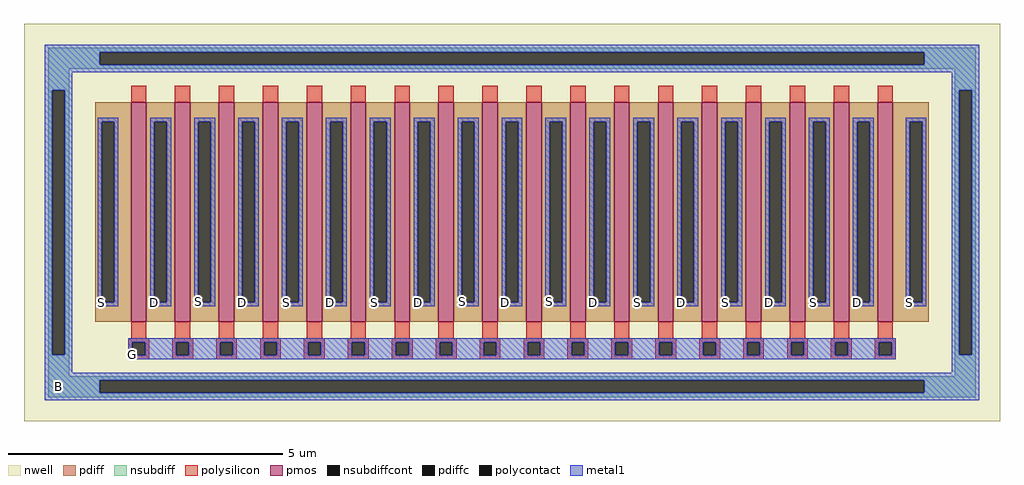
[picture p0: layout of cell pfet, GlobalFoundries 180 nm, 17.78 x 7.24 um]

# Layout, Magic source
magic
tech gf180mcuD
magscale 1 10
<< nwell >>
rect -352 -362 3204 1086
<< pmos >>
rect 38 0 94 800
rect 198 0 254 800
rect 358 0 414 800
rect 518 0 574 800
rect 678 0 734 800
rect 838 0 894 800
rect 998 0 1054 800
rect 1158 0 1214 800
rect 1318 0 1374 800
rect 1478 0 1534 800
rect 1638 0 1694 800
rect 1798 0 1854 800
rect 1958 0 2014 800
rect 2118 0 2174 800
rect 2278 0 2334 800
rect 2438 0 2494 800
rect 2598 0 2654 800
rect 2758 0 2814 800
<< pdiff >>
rect -92 729 38 800
rect -92 71 -69 729
rect -23 71 38 729
rect -92 0 38 71
rect 94 729 198 800
rect 94 71 123 729
rect 169 71 198 729
rect 94 0 198 71
rect 254 729 358 800
rect 254 71 283 729
rect 329 71 358 729
rect 254 0 358 71
rect 414 729 518 800
rect 414 71 443 729
rect 489 71 518 729
rect 414 0 518 71
rect 574 729 678 800
rect 574 71 603 729
rect 649 71 678 729
rect 574 0 678 71
rect 734 729 838 800
rect 734 71 763 729
rect 809 71 838 729
rect 734 0 838 71
rect 894 729 998 800
rect 894 71 923 729
rect 969 71 998 729
rect 894 0 998 71
rect 1054 729 1158 800
rect 1054 71 1083 729
rect 1129 71 1158 729
rect 1054 0 1158 71
rect 1214 729 1318 800
rect 1214 71 1243 729
rect 1289 71 1318 729
rect 1214 0 1318 71
rect 1374 729 1478 800
rect 1374 71 1403 729
rect 1449 71 1478 729
rect 1374 0 1478 71
rect 1534 729 1638 800
rect 1534 71 1563 729
rect 1609 71 1638 729
rect 1534 0 1638 71
rect 1694 729 1798 800
rect 1694 71 1723 729
rect 1769 71 1798 729
rect 1694 0 1798 71
rect 1854 729 1958 800
rect 1854 71 1883 729
rect 1929 71 1958 729
rect 1854 0 1958 71
rect 2014 729 2118 800
rect 2014 71 2043 729
rect 2089 71 2118 729
rect 2014 0 2118 71
rect 2174 729 2278 800
rect 2174 71 2203 729
rect 2249 71 2278 729
rect 2174 0 2278 71
rect 2334 729 2438 800
rect 2334 71 2363 729
rect 2409 71 2438 729
rect 2334 0 2438 71
rect 2494 729 2598 800
rect 2494 71 2523 729
rect 2569 71 2598 729
rect 2494 0 2598 71
rect 2654 729 2758 800
rect 2654 71 2683 729
rect 2729 71 2758 729
rect 2654 0 2758 71
rect 2814 729 2944 800
rect 2814 71 2875 729
rect 2921 71 2944 729
rect 2814 0 2944 71
<< pdiffc >>
rect -69 71 -23 729
rect 123 71 169 729
rect 283 71 329 729
rect 443 71 489 729
rect 603 71 649 729
rect 763 71 809 729
rect 923 71 969 729
rect 1083 71 1129 729
rect 1243 71 1289 729
rect 1403 71 1449 729
rect 1563 71 1609 729
rect 1723 71 1769 729
rect 1883 71 1929 729
rect 2043 71 2089 729
rect 2203 71 2249 729
rect 2363 71 2409 729
rect 2523 71 2569 729
rect 2683 71 2729 729
rect 2875 71 2921 729
<< nsubdiff >>
rect -264 983 3116 998
rect -264 937 -76 983
rect 2928 937 3116 983
rect -264 922 3116 937
rect -264 844 -188 922
rect -264 -120 -249 844
rect -203 -120 -188 844
rect 3040 844 3116 922
rect -264 -198 -188 -120
rect 3040 -120 3055 844
rect 3101 -120 3116 844
rect 3040 -198 3116 -120
rect -264 -213 3116 -198
rect -264 -259 -76 -213
rect 2928 -259 3116 -213
rect -264 -274 3116 -259
<< nsubdiffcont >>
rect -76 937 2928 983
rect -249 -120 -203 844
rect 3055 -120 3101 844
rect -76 -259 2928 -213
<< polysilicon >>
rect 38 800 94 860
rect 198 800 254 860
rect 358 800 414 860
rect 518 800 574 860
rect 678 800 734 860
rect 838 800 894 860
rect 998 800 1054 860
rect 1158 800 1214 860
rect 1318 800 1374 860
rect 1478 800 1534 860
rect 1638 800 1694 860
rect 1798 800 1854 860
rect 1958 800 2014 860
rect 2118 800 2174 860
rect 2278 800 2334 860
rect 2438 800 2494 860
rect 2598 800 2654 860
rect 2758 800 2814 860
rect 38 -60 94 0
rect 198 -60 254 0
rect 358 -60 414 0
rect 518 -60 574 0
rect 678 -60 734 0
rect 838 -60 894 0
rect 998 -60 1054 0
rect 1158 -60 1214 0
rect 1318 -60 1374 0
rect 1478 -60 1534 0
rect 1638 -60 1694 0
rect 1798 -60 1854 0
rect 1958 -60 2014 0
rect 2118 -60 2174 0
rect 2278 -60 2334 0
rect 2438 -60 2494 0
rect 2598 -60 2654 0
rect 2758 -60 2814 0
rect 28 -75 104 -60
rect 28 -121 43 -75
rect 89 -121 104 -75
rect 28 -136 104 -121
rect 188 -75 264 -60
rect 188 -121 203 -75
rect 249 -121 264 -75
rect 188 -136 264 -121
rect 348 -75 424 -60
rect 348 -121 363 -75
rect 409 -121 424 -75
rect 348 -136 424 -121
rect 508 -75 584 -60
rect 508 -121 523 -75
rect 569 -121 584 -75
rect 508 -136 584 -121
rect 668 -75 744 -60
rect 668 -121 683 -75
rect 729 -121 744 -75
rect 668 -136 744 -121
rect 828 -75 904 -60
rect 828 -121 843 -75
rect 889 -121 904 -75
rect 828 -136 904 -121
rect 988 -75 1064 -60
rect 988 -121 1003 -75
rect 1049 -121 1064 -75
rect 988 -136 1064 -121
rect 1148 -75 1224 -60
rect 1148 -121 1163 -75
rect 1209 -121 1224 -75
rect 1148 -136 1224 -121
rect 1308 -75 1384 -60
rect 1308 -121 1323 -75
rect 1369 -121 1384 -75
rect 1308 -136 1384 -121
rect 1468 -75 1544 -60
rect 1468 -121 1483 -75
rect 1529 -121 1544 -75
rect 1468 -136 1544 -121
rect 1628 -75 1704 -60
rect 1628 -121 1643 -75
rect 1689 -121 1704 -75
rect 1628 -136 1704 -121
rect 1788 -75 1864 -60
rect 1788 -121 1803 -75
rect 1849 -121 1864 -75
rect 1788 -136 1864 -121
rect 1948 -75 2024 -60
rect 1948 -121 1963 -75
rect 2009 -121 2024 -75
rect 1948 -136 2024 -121
rect 2108 -75 2184 -60
rect 2108 -121 2123 -75
rect 2169 -121 2184 -75
rect 2108 -136 2184 -121
rect 2268 -75 2344 -60
rect 2268 -121 2283 -75
rect 2329 -121 2344 -75
rect 2268 -136 2344 -121
rect 2428 -75 2504 -60
rect 2428 -121 2443 -75
rect 2489 -121 2504 -75
rect 2428 -136 2504 -121
rect 2588 -75 2664 -60
rect 2588 -121 2603 -75
rect 2649 -121 2664 -75
rect 2588 -136 2664 -121
rect 2748 -75 2824 -60
rect 2748 -121 2763 -75
rect 2809 -121 2824 -75
rect 2748 -136 2824 -121
<< polycontact >>
rect 43 -121 89 -75
rect 203 -121 249 -75
rect 363 -121 409 -75
rect 523 -121 569 -75
rect 683 -121 729 -75
rect 843 -121 889 -75
rect 1003 -121 1049 -75
rect 1163 -121 1209 -75
rect 1323 -121 1369 -75
rect 1483 -121 1529 -75
rect 1643 -121 1689 -75
rect 1803 -121 1849 -75
rect 1963 -121 2009 -75
rect 2123 -121 2169 -75
rect 2283 -121 2329 -75
rect 2443 -121 2489 -75
rect 2603 -121 2649 -75
rect 2763 -121 2809 -75
<< metal1 >>
rect -276 983 3128 1010
rect -276 937 -76 983
rect 2928 937 3128 983
rect -276 910 3128 937
rect -276 844 -176 910
rect -276 -120 -249 844
rect -203 -120 -176 844
rect 3028 844 3128 910
rect -84 729 -8 744
rect -84 71 -69 729
rect -23 71 -8 729
rect -84 56 -8 71
rect 108 729 184 744
rect 108 71 123 729
rect 169 71 184 729
rect 108 56 184 71
rect 268 729 344 744
rect 268 71 283 729
rect 329 71 344 729
rect 268 56 344 71
rect 428 729 504 744
rect 428 71 443 729
rect 489 71 504 729
rect 428 56 504 71
rect 588 729 664 744
rect 588 71 603 729
rect 649 71 664 729
rect 588 56 664 71
rect 748 729 824 744
rect 748 71 763 729
rect 809 71 824 729
rect 748 56 824 71
rect 908 729 984 744
rect 908 71 923 729
rect 969 71 984 729
rect 908 56 984 71
rect 1068 729 1144 744
rect 1068 71 1083 729
rect 1129 71 1144 729
rect 1068 56 1144 71
rect 1228 729 1304 744
rect 1228 71 1243 729
rect 1289 71 1304 729
rect 1228 56 1304 71
rect 1388 729 1464 744
rect 1388 71 1403 729
rect 1449 71 1464 729
rect 1388 56 1464 71
rect 1548 729 1624 744
rect 1548 71 1563 729
rect 1609 71 1624 729
rect 1548 56 1624 71
rect 1708 729 1784 744
rect 1708 71 1723 729
rect 1769 71 1784 729
rect 1708 56 1784 71
rect 1868 729 1944 744
rect 1868 71 1883 729
rect 1929 71 1944 729
rect 1868 56 1944 71
rect 2028 729 2104 744
rect 2028 71 2043 729
rect 2089 71 2104 729
rect 2028 56 2104 71
rect 2188 729 2264 744
rect 2188 71 2203 729
rect 2249 71 2264 729
rect 2188 56 2264 71
rect 2348 729 2424 744
rect 2348 71 2363 729
rect 2409 71 2424 729
rect 2348 56 2424 71
rect 2508 729 2584 744
rect 2508 71 2523 729
rect 2569 71 2584 729
rect 2508 56 2584 71
rect 2668 729 2744 744
rect 2668 71 2683 729
rect 2729 71 2744 729
rect 2668 56 2744 71
rect 2860 729 2936 744
rect 2860 71 2875 729
rect 2921 71 2936 729
rect 2860 56 2936 71
rect -276 -186 -176 -120
rect 28 -75 2824 -60
rect 28 -121 43 -75
rect 89 -121 203 -75
rect 249 -121 363 -75
rect 409 -121 523 -75
rect 569 -121 683 -75
rect 729 -121 843 -75
rect 889 -121 1003 -75
rect 1049 -121 1163 -75
rect 1209 -121 1323 -75
rect 1369 -121 1483 -75
rect 1529 -121 1643 -75
rect 1689 -121 1803 -75
rect 1849 -121 1963 -75
rect 2009 -121 2123 -75
rect 2169 -121 2283 -75
rect 2329 -121 2443 -75
rect 2489 -121 2603 -75
rect 2649 -121 2763 -75
rect 2809 -121 2824 -75
rect 28 -136 2824 -121
rect 3028 -120 3055 844
rect 3101 -120 3128 844
rect 3028 -186 3128 -120
rect -276 -213 3128 -186
rect -276 -259 -76 -213
rect 2928 -259 3128 -213
rect -276 -286 3128 -259
<< labels >>
flabel metal1 s 44 -120 44 -120 2 FreeSans 73 0 0 0 G
port 1 nsew
flabel metal1 s -68 72 -68 72 2 FreeSans 73 0 0 0 S
port 2 nsew
flabel metal1 s 2876 72 2876 72 2 FreeSans 73 0 0 0 S
port 2 nsew
flabel metal1 s 2524 72 2524 72 2 FreeSans 73 0 0 0 S
port 2 nsew
flabel metal1 s 2204 72 2204 72 2 FreeSans 73 0 0 0 S
port 2 nsew
flabel metal1 s 1884 72 1884 72 2 FreeSans 73 0 0 0 S
port 2 nsew
flabel metal1 s 1564 73 1564 73 2 FreeSans 73 0 0 0 S
port 2 nsew
flabel metal1 s 1244 73 1244 73 2 FreeSans 73 0 0 0 S
port 2 nsew
flabel metal1 s 924 72 924 72 2 FreeSans 73 0 0 0 S
port 2 nsew
flabel metal1 s 604 72 604 72 2 FreeSans 73 0 0 0 S
port 2 nsew
flabel metal1 s 284 73 284 73 2 FreeSans 73 0 0 0 S
port 2 nsew
flabel metal1 s 2044 71 2044 71 2 FreeSans 73 0 0 0 D
port 3 nsew
flabel metal1 s 1724 71 1724 71 2 FreeSans 73 0 0 0 D
port 3 nsew
flabel metal1 s 1404 72 1404 72 2 FreeSans 73 0 0 0 D
port 3 nsew
flabel metal1 s 1084 72 1084 72 2 FreeSans 73 0 0 0 D
port 3 nsew
flabel metal1 s 764 71 764 71 2 FreeSans 73 0 0 0 D
port 3 nsew
flabel metal1 s 444 71 444 71 2 FreeSans 73 0 0 0 D
port 3 nsew
flabel metal1 s 124 72 124 72 2 FreeSans 73 0 0 0 D
port 3 nsew
flabel metal1 s 2364 71 2364 71 2 FreeSans 73 0 0 0 D
port 3 nsew
flabel metal1 s 2684 72 2684 72 2 FreeSans 73 0 0 0 D
port 3 nsew
flabel metal1 s -226 -236 -226 -236 2 FreeSans 73 0 0 0 B
port 4 nsew
<< properties >>
string path -1.490 4.800 15.390 4.800 15.390 -1.180 -1.130 -1.180 -1.130 4.440 
<< end >>
